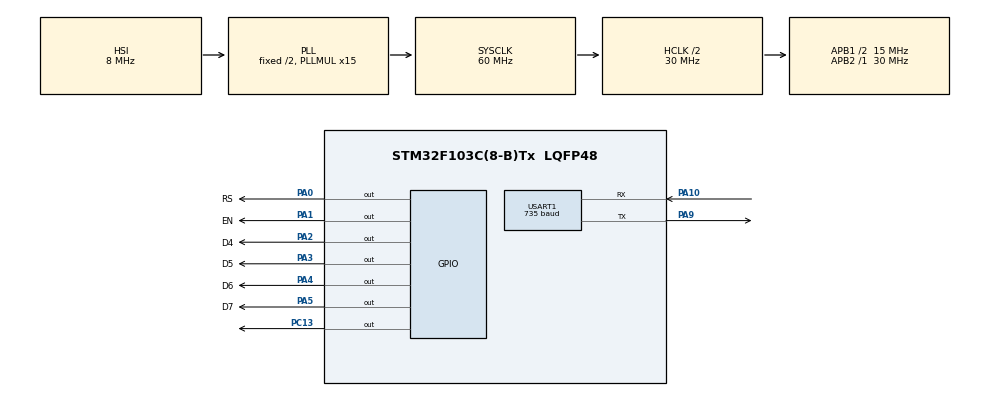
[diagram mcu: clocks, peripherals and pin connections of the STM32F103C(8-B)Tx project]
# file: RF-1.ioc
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Dma.Request0=USART1_RX
Dma.USART1_RX.0.Direction=DMA_PERIPH_TO_MEMORY
Dma.USART1_RX.0.Instance=DMA1_Channel5
Dma.USART1_RX.0.MemDataAlignment=DMA_MDATAALIGN_BYTE
Dma.USART1_RX.0.MemInc=DMA_MINC_ENABLE
Dma.USART1_RX.0.Mode=DMA_CIRCULAR
Dma.USART1_RX.0.PeriphDataAlignment=DMA_PDATAALIGN_BYTE
Dma.USART1_RX.0.PeriphInc=DMA_PINC_DISABLE
Dma.USART1_RX.0.Priority=DMA_PRIORITY_HIGH
FREERTOS.Tasks01=defaultTask,0,128,StartDefaultTask,Default,NULL,Dynamic,NULL,NULL;Task2,1,128,StartTask03,Default,NULL,Dynamic,NULL,NULL
Mcu.Family=STM32F1
Mcu.Name=STM32F103C(8-B)Tx
Mcu.Package=LQFP48
NVIC.DMA1_Channel5_IRQn=true\:5\:0\:false\:false\:true\:true\:false
NVIC.PriorityGroup=NVIC_PRIORITYGROUP_4
NVIC.TIM4_IRQn=true\:0\:0\:false\:false\:true\:false\:false
NVIC.TimeBase=TIM4_IRQn
NVIC.TimeBaseIP=TIM4
PA0-WKUP.GPIO_Label=RS
PA0-WKUP.GPIO_Speed=GPIO_SPEED_FREQ_MEDIUM
PA0-WKUP.Signal=GPIO_Output
PA1.GPIO_Label=EN
PA1.GPIO_Speed=GPIO_SPEED_FREQ_MEDIUM
PA1.Signal=GPIO_Output
PA10.Mode=Asynchronous
PA10.Signal=USART1_RX
PA13.Mode=Serial_Wire
PA13.Signal=SYS_JTMS-SWDIO
PA14.Mode=Serial_Wire
PA14.Signal=SYS_JTCK-SWCLK
PA2.GPIO_Label=D4
PA2.GPIO_Speed=GPIO_SPEED_FREQ_MEDIUM
PA2.Signal=GPIO_Output
PA3.GPIO_Label=D5
PA3.GPIO_Speed=GPIO_SPEED_FREQ_MEDIUM
PA3.Signal=GPIO_Output
PA4.GPIO_Label=D6
PA4.GPIO_Speed=GPIO_SPEED_FREQ_MEDIUM
PA4.Signal=GPIO_Output
PA5.GPIO_Label=D7
PA5.GPIO_Speed=GPIO_SPEED_FREQ_MEDIUM
PA5.Signal=GPIO_Output
PA9.Mode=Asynchronous
PA9.Signal=USART1_TX
PC13-TAMPER-RTC.GPIO_Speed=GPIO_SPEED_FREQ_LOW
PC13-TAMPER-RTC.Signal=GPIO_Output
PD0-OSC_IN.Mode=HSE-External-Oscillator
PD0-OSC_IN.Signal=RCC_OSC_IN
PD1-OSC_OUT.Mode=HSE-External-Oscillator
PD1-OSC_OUT.Signal=RCC_OSC_OUT
ProjectManager.HeapSize=0x200
ProjectManager.StackSize=0x400
ProjectManager.TargetToolchain=MDK-ARM V5
RCC.AHBCLKDivider=RCC_SYSCLK_DIV2
RCC.AHBFreq_Value=30000000
RCC.APB1CLKDivider=RCC_HCLK_DIV2
RCC.APB1Freq_Value=15000000
RCC.APB1TimFreq_Value=30000000
RCC.APB2Freq_Value=30000000
RCC.APB2TimFreq_Value=30000000
RCC.HCLKFreq_Value=30000000
RCC.PLLMUL=RCC_PLL_MUL15
RCC.SYSCLKFreq_VALUE=60000000
RCC.SYSCLKSource=RCC_SYSCLKSOURCE_PLLCLK
RCC.USBFreq_Value=60000000
USART1.BaudRate=735
USART1.VirtualMode=VM_ASYNC
VP_FREERTOS_VS_ENABLE.Mode=Enabled
VP_SYS_VS_tim4.Mode=TIM4
board=custom

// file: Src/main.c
/**
  ******************************************************************************
  * @file           : main.c
  * @brief          : Main program body
  ******************************************************************************
  * This notice applies to any and all portions of this file
  * that are not between comment pairs USER CODE BEGIN and
  * USER CODE END. Other portions of this file, whether
  * inserted by the user or by software development tools
  * are owned by their respective copyright owners.
  *
  * Copyright (c) 2019 STMicroelectronics International N.V.
  * All rights reserved.
  *
  * Redistribution and use in source and binary forms, with or without
  * modification, are permitted, provided that the following conditions are met:
  *
  * 1. Redistribution of source code must retain the above copyright notice,
  *    this list of conditions and the following disclaimer.
  * 2. Redistributions in binary form must reproduce the above copyright notice,
  *    this list of conditions and the following disclaimer in the documentation
  *    and/or other materials provided with the distribution.
  * 3. Neither the name of STMicroelectronics nor the names of other
  *    contributors to this software may be used to endorse or promote products
  *    derived from this software without specific written permission.
  * 4. This software, including modifications and/or derivative works of this
  *    software, must execute solely and exclusively on microcontroller or
  *    microprocessor devices manufactured by or for STMicroelectronics.
  * 5. Redistribution and use of this software other than as permitted under
  *    this license is void and will automatically terminate your rights under
  *    this license.
  *
  * THIS SOFTWARE IS PROVIDED BY STMICROELECTRONICS AND CONTRIBUTORS "AS IS"
  * AND ANY EXPRESS, IMPLIED OR STATUTORY WARRANTIES, INCLUDING, BUT NOT
  * LIMITED TO, THE IMPLIED WARRANTIES OF MERCHANTABILITY, FITNESS FOR A
  * PARTICULAR PURPOSE AND NON-INFRINGEMENT OF THIRD PARTY INTELLECTUAL PROPERTY
  * RIGHTS ARE DISCLAIMED TO THE FULLEST EXTENT PERMITTED BY LAW. IN NO EVENT
  * SHALL STMICROELECTRONICS OR CONTRIBUTORS BE LIABLE FOR ANY DIRECT, INDIRECT,
  * INCIDENTAL, SPECIAL, EXEMPLARY, OR CONSEQUENTIAL DAMAGES (INCLUDING, BUT NOT
  * LIMITED TO, PROCUREMENT OF SUBSTITUTE GOODS OR SERVICES; LOSS OF USE, DATA,
  * OR PROFITS; OR BUSINESS INTERRUPTION) HOWEVER CAUSED AND ON ANY THEORY OF
  * LIABILITY, WHETHER IN CONTRACT, STRICT LIABILITY, OR TORT (INCLUDING
  * NEGLIGENCE OR OTHERWISE) ARISING IN ANY WAY OUT OF THE USE OF THIS SOFTWARE,
  * EVEN IF ADVISED OF THE POSSIBILITY OF SUCH DAMAGE.
  *
  ******************************************************************************
  */
#include "main.h"
#include "stm32f1xx_hal.h"
#include "cmsis_os.h"

/* USER CODE BEGIN Includes */
#include "string.h"

/* USER CODE END Includes */

UART_HandleTypeDef huart1;
DMA_HandleTypeDef hdma_usart1_rx;

osThreadId defaultTaskHandle;
osThreadId Task2Handle;

/* USER CODE BEGIN PV */
/* Private variables ---------------------------------------------------------*/

/* USER CODE END PV */

void SystemClock_Config(void);
static void MX_GPIO_Init(void);
static void MX_DMA_Init(void);
static void MX_USART1_UART_Init(void);
void StartDefaultTask(void const * argument);
void StartTask03(void const * argument);

/* USER CODE BEGIN PFP */
/* Private function prototypes -----------------------------------------------*/

/* USER CODE END PFP */

/* USER CODE BEGIN 0 */

uint8_t data[16];
char t_str[30];
uint8_t xx ;
uint8_t	databuf[16];

uint8_t	a=0;
uint8_t	b=0;

/* USER CODE END 0 */

int main(void)
{

  /* MCU Configuration----------------------------------------------------------*/

  /* Reset of all peripherals, Initializes the Flash interface and the Systick. */
  HAL_Init();

  /* Configure the system clock */
  SystemClock_Config();

  /* Initialize all configured peripherals */
  MX_GPIO_Init();
  MX_DMA_Init();
  MX_USART1_UART_Init();
  /* USER CODE BEGIN 2 */

	HAL_GPIO_WritePin(GPIOC,GPIO_PIN_13,GPIO_PIN_RESET);
		HAL_Delay(1000);
 	HAL_GPIO_WritePin(GPIOC,GPIO_PIN_13,GPIO_PIN_SET);
		HAL_Delay(1000);

HAL_UART_Receive_DMA(&huart1,data,16);

  /* USER CODE END 2 */

  /* Create the thread(s) */
  /* definition and creation of defaultTask */
  osThreadDef(defaultTask, StartDefaultTask, osPriorityNormal, 0, 128);
  defaultTaskHandle = osThreadCreate(osThread(defaultTask), NULL);

  /* definition and creation of Task2 */
  osThreadDef(Task2, StartTask03, osPriorityAboveNormal, 0, 128);
  Task2Handle = osThreadCreate(osThread(Task2), NULL);

  /* Start scheduler */
  osKernelStart();

  /* We should never get here as control is now taken by the scheduler */

  /* Infinite loop */
  while (1)
  {

  }

}

void SystemClock_Config(void)
{

  RCC_OscInitTypeDef RCC_OscInitStruct;
  RCC_ClkInitTypeDef RCC_ClkInitStruct;

    /**Initializes the CPU, AHB and APB busses clocks
    */
  RCC_OscInitStruct.OscillatorType = RCC_OSCILLATORTYPE_HSI;
  RCC_OscInitStruct.HSIState = RCC_HSI_ON;
  RCC_OscInitStruct.HSICalibrationValue = 16;
  RCC_OscInitStruct.PLL.PLLState = RCC_PLL_ON;
  RCC_OscInitStruct.PLL.PLLSource = RCC_PLLSOURCE_HSI_DIV2;
  RCC_OscInitStruct.PLL.PLLMUL = RCC_PLL_MUL15;
  if (HAL_RCC_OscConfig(&RCC_OscInitStruct) != HAL_OK)
  {
    _Error_Handler(__FILE__, __LINE__);
  }

    /**Initializes the CPU, AHB and APB busses clocks
    */
  RCC_ClkInitStruct.ClockType = RCC_CLOCKTYPE_HCLK|RCC_CLOCKTYPE_SYSCLK
                              |RCC_CLOCKTYPE_PCLK1|RCC_CLOCKTYPE_PCLK2;
  RCC_ClkInitStruct.SYSCLKSource = RCC_SYSCLKSOURCE_PLLCLK;
  RCC_ClkInitStruct.AHBCLKDivider = RCC_SYSCLK_DIV2;
  RCC_ClkInitStruct.APB1CLKDivider = RCC_HCLK_DIV2;
  RCC_ClkInitStruct.APB2CLKDivider = RCC_HCLK_DIV1;

  if (HAL_RCC_ClockConfig(&RCC_ClkInitStruct, FLASH_LATENCY_2) != HAL_OK)
  {
    _Error_Handler(__FILE__, __LINE__);
  }

    /**Configure the Systick interrupt time
    */
  HAL_SYSTICK_Config(HAL_RCC_GetHCLKFreq()/1000);

    /**Configure the Systick
    */
  HAL_SYSTICK_CLKSourceConfig(SYSTICK_CLKSOURCE_HCLK);

  /* SysTick_IRQn interrupt configuration */
  HAL_NVIC_SetPriority(SysTick_IRQn, 15, 0);
}

/* USART1 init function */
static void MX_USART1_UART_Init(void)
{

  huart1.Instance = USART1;
  huart1.Init.BaudRate = 735;
  huart1.Init.WordLength = UART_WORDLENGTH_8B;
  huart1.Init.StopBits = UART_STOPBITS_1;
  huart1.Init.Parity = UART_PARITY_NONE;
  huart1.Init.Mode = UART_MODE_TX_RX;
  huart1.Init.HwFlowCtl = UART_HWCONTROL_NONE;
  huart1.Init.OverSampling = UART_OVERSAMPLING_16;
  if (HAL_UART_Init(&huart1) != HAL_OK)
  {
    _Error_Handler(__FILE__, __LINE__);
  }

}

static void MX_DMA_Init(void)
{
  /* DMA controller clock enable */
  __HAL_RCC_DMA1_CLK_ENABLE();

  /* DMA interrupt init */
  /* DMA1_Channel5_IRQn interrupt configuration */
  HAL_NVIC_SetPriority(DMA1_Channel5_IRQn, 5, 0);
  HAL_NVIC_EnableIRQ(DMA1_Channel5_IRQn);

}

/** Configure pins as
        * Analog
        * Input
        * Output
        * EVENT_OUT
        * EXTI
*/
static void MX_GPIO_Init(void)
{

  GPIO_InitTypeDef GPIO_InitStruct;

  /* GPIO Ports Clock Enable */
  __HAL_RCC_GPIOC_CLK_ENABLE();
  __HAL_RCC_GPIOD_CLK_ENABLE();
  __HAL_RCC_GPIOA_CLK_ENABLE();

  /*Configure GPIO pin Output Level */
  HAL_GPIO_WritePin(GPIOC, GPIO_PIN_13, GPIO_PIN_RESET);

  /*Configure GPIO pin Output Level */
  HAL_GPIO_WritePin(GPIOA, RS_Pin|EN_Pin|D4_Pin|D5_Pin
                          |D6_Pin|D7_Pin, GPIO_PIN_RESET);

  /*Configure GPIO pin : PC13 */
  GPIO_InitStruct.Pin = GPIO_PIN_13;
  GPIO_InitStruct.Mode = GPIO_MODE_OUTPUT_PP;
  GPIO_InitStruct.Pull = GPIO_NOPULL;
  GPIO_InitStruct.Speed = GPIO_SPEED_FREQ_LOW;
  HAL_GPIO_Init(GPIOC, &GPIO_InitStruct);

  /*Configure GPIO pins : RS_Pin EN_Pin D4_Pin D5_Pin
                           D6_Pin D7_Pin */
  GPIO_InitStruct.Pin = RS_Pin|EN_Pin|D4_Pin|D5_Pin
                          |D6_Pin|D7_Pin;
  GPIO_InitStruct.Mode = GPIO_MODE_OUTPUT_PP;
  GPIO_InitStruct.Pull = GPIO_NOPULL;
  GPIO_InitStruct.Speed = GPIO_SPEED_FREQ_MEDIUM;
  HAL_GPIO_Init(GPIOA, &GPIO_InitStruct);

}

/* USER CODE BEGIN 4 */

void HAL_UART_RxCpltCallback(UART_HandleTypeDef *huart)
{
	for(int i=0;i<16;i++)
		databuf[i]=data[i];
		a=1;
}

/* USER CODE END 4 */

void StartDefaultTask(void const * argument)
{

  /* USER CODE BEGIN 5 */
  /* Infinite loop */
  for(;;)
  {
		switch (xx){
	case 0:
		HAL_GPIO_WritePin(GPIOC,GPIO_PIN_13,GPIO_PIN_SET);
	break;
	case 1:
		HAL_GPIO_WritePin(GPIOC,GPIO_PIN_13,GPIO_PIN_RESET);
	break;
	case 2:
		HAL_GPIO_TogglePin(GPIOC,GPIO_PIN_13);
	  osDelay(1000);
	break;
	case 3:
		HAL_GPIO_TogglePin(GPIOC,GPIO_PIN_13);
	  osDelay(100);
	break;

	default:
	break;
}
    osDelay(100);

  }
  /* USER CODE END 5 */
}

void StartTask03(void const * argument)
{
  /* USER CODE BEGIN StartTask03 */

  //e7-21-0-31-e5-21-0-31 -->A
	//e7-a1-1-31-e5-a1-1-31 -->B
	//e7-61-1-31-e5-61-1-31 -->C
	//e7-31-1-31-e5-31-1-31 -->D
	//	____________________
	//dataSearch[4] >> e7-21-1-31

	/* Infinite loop */
  for(;;)
  {
		if(a==1){

			for(int i=0;i<15;i++)	{
				if((databuf[i]==0xe7)&&(databuf[i+1]==0x21)){
					xx=0;
			sprintf(t_str, "A");
			HAL_UART_Transmit(&huart1,(unsigned char*)t_str,16,10);
					}
				if((databuf[i]==0xe7)&&(databuf[i+1]==0xa1)){
					xx=1;
			sprintf(t_str, "B");
			HAL_UART_Transmit(&huart1,(unsigned char*)t_str,16,10);

				}
				if((databuf[i]==0xe7)&&(databuf[i+1]==0x61)){
					xx=2;
			sprintf(t_str, "C");
			HAL_UART_Transmit(&huart1,(unsigned char*)t_str,16,10);

				}
				if((databuf[i]==0xe7)&&(databuf[i+1]==0x31)){
					xx=3;
			sprintf(t_str, "D");
			HAL_UART_Transmit(&huart1,(unsigned char*)t_str,16,10);

				}

			}
			a=0;
		}
		osDelay(10);
  }
  /* USER CODE END StartTask03 */
}

void HAL_TIM_PeriodElapsedCallback(TIM_HandleTypeDef *htim)
{
  if (htim->Instance == TIM4) {
    HAL_IncTick();
  }
}

void _Error_Handler(char *file, int line)
{
  while(1)
  {
  }
}

/************************ (C) COPYRIGHT STMicroelectronics *****END OF FILE****/
